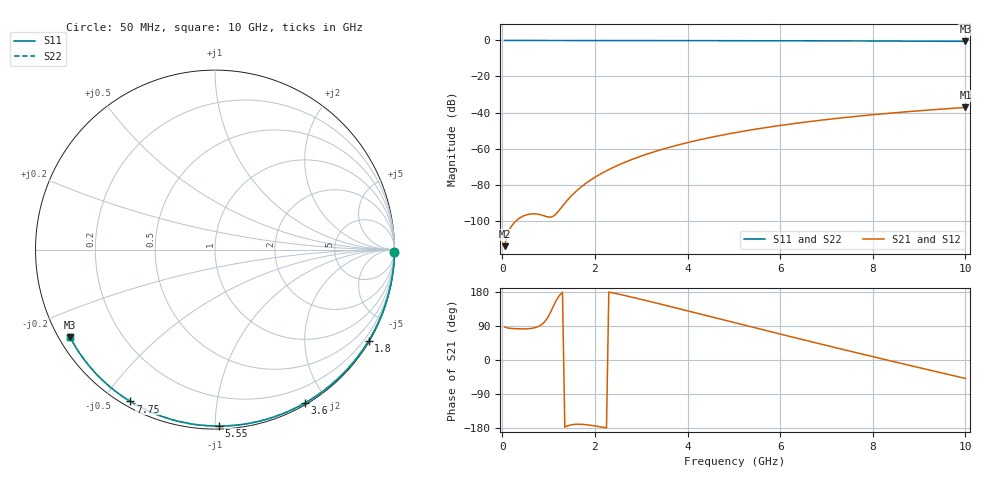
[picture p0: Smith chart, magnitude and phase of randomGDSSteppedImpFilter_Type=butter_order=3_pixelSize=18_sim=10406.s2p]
! freq	dB(S11)	phase(S11)	dB(S12)	phase(S12)
!  dB(S21)	phase(S21)	dB(S22)	phase(S22)
!S-par simulation data
#  GHz  S  DB  R 50
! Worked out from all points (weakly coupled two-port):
!   200 points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, 50 MHz to 10 GHz, reference 50 ohm
!   highest |S21| = -37.19 dB at 10 GHz (marker M1); lowest = -114.2 dB at 50 MHz (marker M2)
!   lowest |S11| = -0.5 dB at 10 GHz (marker M3), VSWR 34.48, Z = 1.56 - j13.9 ohm
!   |S11| at or under -10 dB: nowhere
!   |S22| runs from -0.5 to 0.0 dB; largest |S21 - S12| = 0
!   S11 on the Smith chart (normalised r, x): 50 MHz: open; 1.8 GHz: 0.03, -3.65; 3.6 GHz: 0.02, -1.74; 5.55 GHz: 0.02, -1.02; 7.75 GHz: 0.02, -0.59; 10 GHz: 0.03, -0.28
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0.05  -0.00 -0.9  -114.16 87.0  -114.16 87.0  -0.00 -0.9
0.45  -0.01 -7.8  -97.48 82.0  -97.48 82.0  -0.01 -7.8
0.9  -0.02 -15.5  -97.30 99.0  -97.30 99.0  -0.02 -15.5
1.3  -0.03 -22.2  -91.90 178.6  -91.90 178.6  -0.03 -22.2
1.75  -0.04 -29.8  -80.34 -170.1  -80.34 -170.1  -0.04 -29.8
1.8  -0.04 -30.6  -79.37 -170.6  -79.37 -170.6  -0.04 -30.6
1.95  -0.04 -33.1  -76.74 -172.9  -76.74 -172.9  -0.04 -33.1
2.1  -0.05 -35.6  -74.41 -175.9  -74.41 -175.9  -0.05 -35.6
2.3  -0.05 -38.9  -71.66 179.4  -71.66 179.4  -0.05 -38.9
2.5  -0.05 -42.1  -69.23 174.2  -69.23 174.2  -0.05 -42.1
2.9  -0.06 -48.6  -65.07 162.9  -65.07 162.9  -0.06 -48.6
3.4  -0.08 -56.5  -60.83 148.1  -60.83 148.1  -0.08 -56.5
3.6  -0.08 -59.7  -59.35 142.0  -59.35 142.0  -0.08 -59.7
4.3  -0.10 -70.4  -54.91 120.5  -54.91 120.5  -0.10 -70.4
5.05  -0.13 -81.6  -51.07 97.5  -51.07 97.5  -0.13 -81.6
5.55  -0.15 -88.8  -48.91 82.2  -48.91 82.2  -0.15 -88.8
6.1  -0.17 -96.6  -46.81 65.4  -46.81 65.4  -0.17 -96.6
6.7  -0.20 -104.9  -44.80 47.3  -44.80 47.3  -0.20 -104.9
7.75  -0.28 -119.1  -41.84 16.2  -41.84 16.2  -0.28 -119.1
8.35  -0.33 -127.1  -40.40 -1.4  -40.40 -1.4  -0.33 -127.1
9.2  -0.41 -138.3  -38.62 -25.9  -38.62 -25.9  -0.41 -138.3
10  -0.50 -148.9  -37.19 -48.7  -37.19 -48.7  -0.50 -148.9
